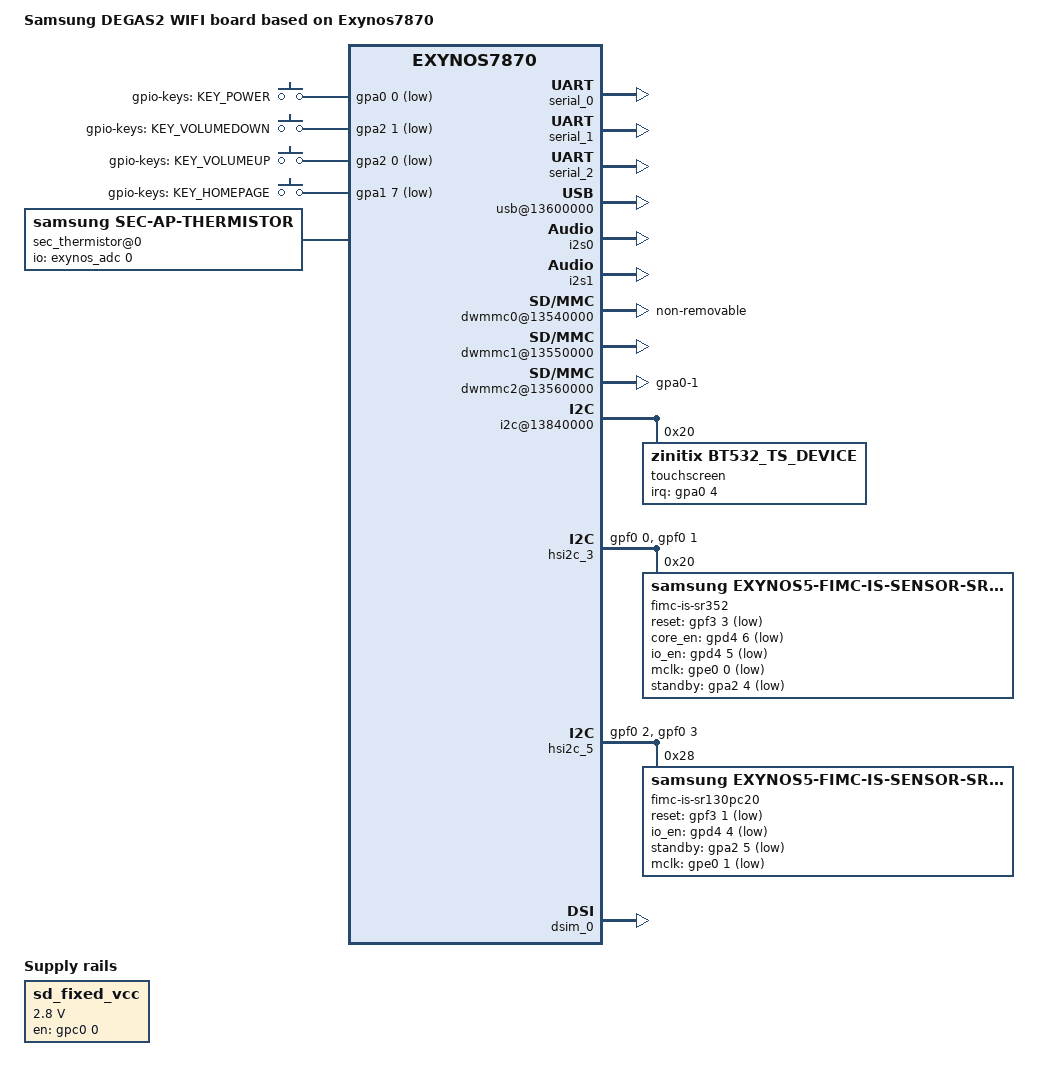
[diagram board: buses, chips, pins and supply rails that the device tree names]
/*
 * SAMSUNG UNIVERSAL8890 board device tree source
 *
 * Copyright (c) 2013 Samsung Electronics Co., Ltd.
 *		http://www.samsung.com
 *
 * This program is free software; you can redistribute it and/or modify
 * it under the terms of the GNU General Public License version 2 as
 * published by the Free Software Foundation.
*/

#include "exynos7870.dtsi"
#include "exynos7870-rmem-1500MB.dtsi"

/ {
	model = "Samsung DEGAS2 WIFI board based on Exynos7870";
	compatible = "samsung,exynos7870", "samsung,universal7870";

	ect {
		parameter_address = <0x90000000>;
		parameter_size = <0x14000>;	/* u-boot always overwrites this value. */
	};

	memory@40000000 {
		device_type = "memory";
		reg = <0x0 0x40000000 0x3E400000>;
	};

	memory@80000000 {
		device_type = "memory";
		reg = <0x0 0x80000000 0x20000000>;
	};

	chosen {
		bootargs = "console=ram ess_setup=0x46000000 androidboot.hardware=samsungexynos7870 androidboot.selinux=disabled firmware_class.path=/vendor/firmware androidboot.debug_level=0x4948 reserve-fimc=0";
		linux,initrd-start = <0x42000000>;
		linux,initrd-end = <0x420FFFFF>;
	};

	fixed-rate-clocks {
		oscclk {
			compatible = "samsung,exynos7870-oscclk";
			clock-frequency = <26000000>;
		};
	};

	reserved-memory {
		#address-cells = <2>;
		#size-cells = <1>;
		ranges;

		mfc_fw {
			compatible = "exynos5433-ion,mfc_fw";
			secure;
			reg = <0x0 0xAE800000 0x200000>;
			id = <8>;
		};

		mfc_nfw {
			compatible = "exynos5433-ion,mfc_nfw";
			reg = <0x0 0xAE600000 0x200000>;
			id = <12>;
		};
	};

	serial_0: uart@13810000 {
		status = "okay";
	};

	serial_1: uart@13800000 {
		status = "okay";
	};

	serial_2: uart@13820000 {
		status = "okay";
	};

	usb@13600000 {
		status = "okay";

		dwc3 {
			maximum-speed = "high-speed";
			dr_mode = "otg";
			is_not_vbus_pad;
		};
	};

	pinctrl_1: pinctrl@148C0000 {
		compatible = "samsung,exynos7870-pinctrl";
		reg = <0x0 0x148C0000 0x1000>;
		interrupts = <0 68 0>;
	};

	s1402x: s1402x@14880000 {
		pinctrl-names = "default", "idle";
		pinctrl-0 = <&i2s_pmic_bus
				&i2s_bt_bus>;
		pinctrl-1 = <&i2s_pmic_bus_idle
				&i2s_bt_bus_idle> ;
		bck-mcko-mode;
		status = "okay";
	};

	i2s0: i2s@148A0000 {
		status = "okay";
	};

	i2s1: i2s@148B0000 {
		status = "okay";
	};

	audio_cp_dummy: cp_dummy {
			compatible = "samsung,cp_dummy";
			status = "okay";
	};

	audio_fm_dummy: fm_dummy {
			compatible = "samsung,fm_dummy";
			status = "okay";
	};

	audio_bt_dummy: bt_dummy {
			compatible = "samsung,bt_dummy";
			status = "okay";
	};

	audio_codec_dummy: dummy-codec {
			compatible = "samsung,dummy-codec";
			status = "okay";
	};


	gpio_keys {
		compatible = "gpio-keys";
		pinctrl-names = "default";
		pinctrl-0 = <&key_power &key_voldown &key_volup &key_home>;
		#address-cells = <1>;
		#size-cells = <0>;

		button@1 {
			label = "gpio-keys: KEY_POWER";
			interrupts = <0 0 0>;
			interrupt-parent = <&gpa0>;
			linux,code = <116>;
			gpios = <&gpa0 0 0xf>;
			gpio-key,wakeup = <1>;
		};
		button@2 {
			label = "gpio-keys: KEY_VOLUMEDOWN";
			interrupts = <1 0 0>;
			interrupt-parent = <&gpa2>;
			linux,code = <114>;
			gpios = <&gpa2 1 0xf>;
		};
		button@3 {
			label = "gpio-keys: KEY_VOLUMEUP";
			interrupts = <0 0 0>;
			interrupt-parent = <&gpa2>;
			linux,code = <115>;
			gpios = <&gpa2 0 0xf>;
		};
		button@4 {
			label = "gpio-keys: KEY_HOMEPAGE";
			interrupts = <7 0 0>;
			interrupt-parent = <&gpa1>;
			linux,code = <172>;
			gpios = <&gpa1 7 0xf>;
			gpio-key,wakeup = <1>;
		};
	};

	dwmmc0@13540000 {
		status = "okay";
		num-slots = <1>;
		broken-cd;
		use-smu;
		fixed_voltage;
		clock-gate;
		supports-highspeed;
		mmc-ddr-1_8v;
		mmc-hs200-1_8v;
		mmc-hs400-1_8v;
		mmc-shutdown-poweroff;
		pm-skip-mmc-resume-init;
		supports-8bit;
		supports-cmd23;
		supports-erase;
		enable-ulp-mode;
		supports-hs400-enhanced-strobe;
		use-fine-tuning;
		bypass-for-allpass;
		card-init-hwacg-ctrl;
		fifo-depth = <0x40>;
		non-removable;
		desc-size = <4>;
		card-detect-delay = <200>;
		data-timeout = <200>;
		clock-frequency = <800000000>;
		samsung,dw-mshc-ciu-div = <3>;
		samsung,dw-mshc-txdt-crc-timer-fastlimit = <0x34>;
		samsung,dw-mshc-txdt-crc-timer-initval = <0x38>;
		samsung,dw-mshc-ddr200-delay-line = <0x60>;
		samsung,dw-mshc-sdr-timing = <3 0 4 0>;
		samsung,dw-mshc-ddr-timing = <3 0 4 2>;
		samsung,dw-mshc-hs200-timing = <3 0 3 0>;
		samsung,dw-mshc-ddr200-timing = <1 0 4 0>;
		samsung,dw-mshc-ddr200-ulp-timing = <3 0 3 0>;

		num-ref-clks = <10>;
		ciu_clkin = <25 50 50 100 200 100 50 200 200 200>;

		/* Swapping clock drive strength */
		clk-drive-number = <6>;
		pinctrl-names = "default",
			"fast-slew-rate-1x",
			"fast-slew-rate-2x",
			"fast-slew-rate-3x",
			"fast-slew-rate-4x",
			"fast-slew-rate-5x",
			"fast-slew-rate-6x";
		pinctrl-0 = <&sd0_clk &sd0_cmd &sd0_rdqs &sd0_bus1 &sd0_bus4 &sd0_bus8>;
		pinctrl-1 = <&sd0_clk_fast_slew_rate_1x>;
		pinctrl-2 = <&sd0_clk_fast_slew_rate_2x>;
		pinctrl-3 = <&sd0_clk_fast_slew_rate_3x>;
		pinctrl-4 = <&sd0_clk_fast_slew_rate_4x>;
		pinctrl-5 = <&sd0_clk_fast_slew_rate_5x>;
		pinctrl-6 = <&sd0_clk_fast_slew_rate_6x>;
		slot@0 {
			reg = <0>;
			bus-width = <8>;
		};
	};

	dwmmc1@13550000 {
		status = "okay";
		num-slots = <1>;
		channel = <1>;
		fixed_voltage;
		clock-gate;
		enable-cclk-on-suspend;
		caps-control;
		supports-highspeed;
		supports-4bit;
		sd-uhs-sdr104;
		keep-power-in-suspend;
		pm-ignore-notify;
		card-detect-type-external;
		use-broken-voltage;
		use-fine-tuning;
		ignore-phase = <(1 << 7)>;
		fifo-depth = <0x40>;
		card-detect-delay = <200>;
		qos_int_level = <468000>;
		samsung,dw-mshc-ciu-div = <3>;
		samsung,dw-mshc-sdr-timing = <3 0 2 0>;
		samsung,dw-mshc-ddr-timing = <3 0 2 1>;
		samsung,dw-mshc-sdr50-timing = <3 0 4 2>;
		samsung,dw-mshc-sdr104-timing = <3 0 3 0>;
		clk_pin = "gpr2-0";
		clk_addr = "13750000.pinctrl";
		clk_val = <0x2>;
		clk_str_num = <4>;
		num-ref-clks = <8>;
		ciu_clkin = <25 50 50 100 200 100 200 400>;
		pinctrl-names = "default";
		pinctrl-0 = <&sd1_clk &sd1_cmd &sd1_bus1 &sd1_bus4>;
		slot@0 {
			reg = <0>;
			bus-width = <4>;
		};
	};

	dwmmc2@13560000 {
		status = "okay";
		num-slots = <1>;
		supports-highspeed;
		supports-4bit;
		supports-cmd23;
		supports-erase;
		sd-uhs-sdr50;
		sd-uhs-sdr104;
		clock-gate;
		bypass-smu;
		bypass-for-allpass;
		use-fine-tuning;
		card-init-hwacg-ctrl;
		only_once_tune;
		samsung,voltage-int-extra = <0x7>;
		ignore-phase = <(1 << 7)>;
		fifo-depth = <0x40>;
		desc-size = <8>;
		card-detect-delay = <200>;
		data-timeout = <200>;
		hto-timeout = <550>;
		samsung,dw-mshc-ciu-div = <3>;
		clock-frequency = <800000000>;
		samsung,dw-mshc-sdr-timing = <3 0 3 0>;
		samsung,dw-mshc-ddr-timing = <3 0 2 1>;
		samsung,dw-mshc-sdr50-timing = <3 0 4 2>;
		samsung,dw-mshc-sdr104-timing = <3 0 3 0>;

		num-ref-clks = <8>;
		ciu_clkin = <25 50 50 100 200 100 200 400>;

		/* Swapping clock drive strength */
		clk-drive-number = <4>;
		pinctrl-names = "default",
			"fast-slew-rate-1x",
			"fast-slew-rate-2x",
			"fast-slew-rate-3x",
			"fast-slew-rate-4x";
		pinctrl-0 = <&sd2_clk &sd2_cmd &sd2_bus1 &sd2_bus4 &dwmmc2_cd_ext_irq>;
		pinctrl-1 = <&sd2_clk_fast_slew_rate_1x>;
		pinctrl-2 = <&sd2_clk_fast_slew_rate_2x>;
		pinctrl-3 = <&sd2_clk_fast_slew_rate_3x>;
		pinctrl-4 = <&sd2_clk_fast_slew_rate_4x>;

		card-detect = <&gpa0 1 0xf>;
		card-detect-gpio;
		sec-sd-slot-type = <1>; /* Normal SD slot */

		slot@0 {
			reg = <0>;
			bus-width = <4>;
			disable-wp;
		};
	};

	sd_fixed_vcc: fixedregulator@0 {
		compatible = "regulator-fixed";
		regulator-name = "vmmc";
		gpio = <&gpc0 0 1>;
		regulator-min-microvolt = <2800000>;
		regulator-max-microvolt = <2800000>;
		enable-active-high;
		regulator-initial-mode = <0>;
	};

	pinctrl@139F0000 {
		attn_input: attn-input {
			samsung,pins = "gpa0-4";
			samsung,pin-function = <0>;
			samsung,pin-pud = <0>;
			samsung,pin-drv = <0>;
		};
		attn_irq: attn-irq {
			samsung,pins = "gpa0-4";
			samsung,pin-function = <0xf>;
			samsung,pin-pud = <0>;
			samsung,pin-drv = <0>;
		};
	};

	i2c@13840000 {
		samsung,i2c-sda-delay = <100>;
		samsung,i2c-max-bus-freq = <400000>;
		status = "okay";
		touchscreen@20 {
			compatible = "zinitix,bt532_ts_device";
			reg = <0x20>;
			pinctrl-names = "on_state", "off_state";
			pinctrl-0 = <&attn_irq>;
			pinctrl-1 = <&attn_input>;
			zinitix,irq_gpio = <&gpa0 4 0>;
			zinitix,regulator_dvdd = "TSP_VDD_3P3";
			zinitix,regulator_avdd = "vdd_ldo3";
			zinitix,x_resolution = <3200>;
			zinitix,y_resolution = <5120>;
			zinitix,page_size = <64>;
			zinitix,orientation = <0>;
			zinitix,chip_name = "ZT7548";
			zinitix,firmware_name = "tsp_zinitix/zt7548_degas2.fw";
			zinitix,touchkey = "true";
		};
	};


	pinctrl@139B0000 {
		cfg_gpio: cfg-gpio {
			samsung,pins = "gpc8-1", "gpc8-0";
			samsung,pin-function = <0>;
			samsung,pin-pud = <0>;
			samsung,pin-drv = <0>;
		};
	};

	pinctrl@139F0000 {
		key_power: key-power {
			samsung,pins = "gpa0-0";
			samsung,pin-function = <0xf>;
			samsung,pin-pud = <0>;
			samsung,pin-drv = <0>;
		};
		dwmmc2_cd_ext_irq: dwmmc2_cd_ext_irq {
			samsung,pins = "gpa0-1";
			samsung,pin-function = <0xf>;
			samsung,pin-pud = <0>;
			samsung,pin-drv = <0>;
		};
		grip_wifi_int: grip_wifi_int {
			samsung,pins = "gpa0-5";
			samsung,pin-function = <0xf>;
			samsung,pin-pud = <0>;
			samsung,pin-drv = <0>;
		};
		acc_int: acc_int {
			samsung,pins = "gpa0-7";
			samsung,pins-function = <0xf>;
			samsung,pin-pud = <0x3>;
			samsung,pin-drv = <0>;
		};
		key_voldown: key-voldown {
			samsung,pins = "gpa2-1";
			samsung,pin-function = <0xf>;
			samsung,pin-pud = <0>;
			samsung,pin-drv = <0>;
		};

		key_volup: key-volup {
			samsung,pins = "gpa2-0";
			samsung,pin-function = <0xf>;
			samsung,pin-pud = <0>;
			samsung,pin-drv = <0>;
		};

		key_home: key-home {
			samsung,pins = "gpa1-7";
			samsung,pin-function = <0xf>;
			samsung,pin-pud = <0>;
			samsung,pin-drv = <0>;
		};
		pmic_irq: pmic-irq {
			samsung,pins = "gpa0-2";
			samsung,pin-pud = <3>;
			samsung,pin-drv = <3>;
		};

		cod3026_irq: cod3026-irq {
			samsung,pins = "gpa1-5";
			samsung,pin-pud = <3>;
			samsung,pin-drv = <3>;
		};

		if_irq: if-irq {
			samsung,pins = "gpa2-7";
			samsung,pin-pud = <3>;
			samsung,pin-drv = <3>;
		};

		cfg_wlanhostwake: cfg-wlanhostwake {
			samsung,pins = "gpa2-2";
			samsung,pin-function = <0>;
			samsung,pin-pud = <1>;
		};

	};

	pinctrl@139E0000 {
		if_pmic_rstb: if-pmic-rstb {
			samsung,pins = "gpc7-4";
			samsung,pin-function = <2>;
			samsung,pin-pud = <3>;
			samsung,pin-con-pdn = <3>;
		};
	};

	pinctrl@139B0000 {
		/* Warm reset information from AP */
		pm_wrsti: pm-wrsti {
			samsung,pins = "gpd1-0";
			samsung,pin-con-pdn = <3>;
		};
	};

	pinctrl@139B0000 {
		cnss_wlanen: cnss-wlanen  {       /* WLAN_EN */
			samsung,pins = "gpd3-6";
			samsung,pin-function = <1>;
			samsung,pin-pud = <0>;
			samsung,pin-drv = <3>;
			samsung,pin-con-pdn = <3>;
			samsung,pin-pud-pdn = <0>;
			samsung,pin-val = <0>;
		};
	};

	sound {
		compatible = "samsung,universal7870-cod3026x";
		samsung,audio-cpu = <&i2s0      /* primary */
			&i2s0                    /* secondary */
			&audio_cp_dummy
			&audio_bt_dummy
			&audio_fm_dummy
			&i2s1			/*AMP for AP */
			&audio_cp_dummy		/*AMP for CP */
			&eax
			&eax
			&eax
			&eax>;
		samsung,audio-codec = <&audio_codec_cod3026x
			&audio_codec_cod3026x
			&audio_codec_cod3026x
			&audio_codec_dummy
			&audio_codec_cod3026x
			&audio_codec_dummy
			&audio_codec_dummy
			&audio_codec_cod3026x
			&audio_codec_cod3026x
			&audio_codec_cod3026x
			&audio_codec_cod3026x>;
		mic-bias-mode = <2 1 2 0>;
		samsung,auxdev = <&s1402x>;
		status = "okay";
	};

	ion {
		compatible = "samsung,exynos5430-ion";
	};

	tmuctrl_0: tmuctrl_CPUCL0@10130000 {
		compatible = "samsung,exynos7870-tmu";
		reg = <0x0 0x10130000 0x200>;
		interrupts = <0 435 0>;
		max_trigger_level = <8>;
		non_hw_trigger_levels = <7>;

		/* Throttling Level */
		trigger_levels_0 = <76>;
		trigger_levels_1 = <81>;
		trigger_levels_2 = <86>;
		trigger_levels_3 = <91>;
		trigger_levels_4 = <96>;
		trigger_levels_5 = <101>;
		trigger_levels_6 = <111>;
		trigger_levels_7 = <115>;

		trigger_enable_0 = <ENABLE>;
		trigger_enable_1 = <ENABLE>;
		trigger_enable_2 = <ENABLE>;
		trigger_enable_3 = <ENABLE>;
		trigger_enable_4 = <ENABLE>;
		trigger_enable_5 = <ENABLE>;
		trigger_enable_6 = <ENABLE>;
		trigger_enable_7 = <ENABLE>;

		trigger_type_0 = <THROTTLE_ACTIVE>;
		trigger_type_1 = <THROTTLE_ACTIVE>;
		trigger_type_2 = <THROTTLE_ACTIVE>;
		trigger_type_3 = <THROTTLE_ACTIVE>;
		trigger_type_4 = <THROTTLE_ACTIVE>;
		trigger_type_5 = <THROTTLE_ACTIVE>;
		trigger_type_6 = <THROTTLE_ACTIVE>;
		trigger_type_7 = <HW_TRIP>;

		freq_tab_count = <5>;

		freq_clip_max_0 = <1586000>;
		freq_clip_max_1 = <1248000>;
		freq_clip_max_2 = <1248000>;
		freq_clip_max_3 = <546000>;
		freq_clip_max_4 = <546000>;

		cooling_level_0 = <76>;
		cooling_level_1 = <81>;
		cooling_level_2 = <86>;
		cooling_level_3 = <91>;
		cooling_level_4 = <96>;
	};

	tmuctrl_1: tmuctrl_CPUCL1@10130000 {
		compatible = "samsung,exynos7870-tmu";
		reg = <0x0 0x10130000 0x200>;
		interrupts = <0 435 0>;
		max_trigger_level = <8>;
		non_hw_trigger_levels = <7>;

		/* Throttling Level */
		trigger_levels_0 = <76>;
		trigger_levels_1 = <81>;
		trigger_levels_2 = <86>;
		trigger_levels_3 = <91>;
		trigger_levels_4 = <96>;
		trigger_levels_5 = <101>;
		trigger_levels_6 = <111>;
		trigger_levels_7 = <115>;

		trigger_enable_0 = <ENABLE>;
		trigger_enable_1 = <ENABLE>;
		trigger_enable_2 = <ENABLE>;
		trigger_enable_3 = <ENABLE>;
		trigger_enable_4 = <ENABLE>;
		trigger_enable_5 = <ENABLE>;
		trigger_enable_6 = <ENABLE>;
		trigger_enable_7 = <ENABLE>;

		trigger_type_0 = <THROTTLE_ACTIVE>;
		trigger_type_1 = <THROTTLE_ACTIVE>;
		trigger_type_2 = <THROTTLE_ACTIVE>;
		trigger_type_3 = <THROTTLE_ACTIVE>;
		trigger_type_4 = <THROTTLE_ACTIVE>;
		trigger_type_5 = <THROTTLE_ACTIVE>;
		trigger_type_6 = <THROTTLE_ACTIVE>;
		trigger_type_7 = <HW_TRIP>;

		freq_tab_count = <5>;

		freq_clip_max_0 = <1586000>;
		freq_clip_max_1 = <1248000>;
		freq_clip_max_2 = <1248000>;
		freq_clip_max_3 = <546000>;
		freq_clip_max_4 = <546000>;

		cooling_level_0 = <76>;
		cooling_level_1 = <81>;
		cooling_level_2 = <86>;
		cooling_level_3 = <91>;
		cooling_level_4 = <96>;

		hotplug_enable = <1>;
		hotplug_in_threshold = <91>;
		hotplug_out_threshold = <96>;
	};

	tmuctrl_2: tmuctrl_G3D@10130000 {
		compatible = "samsung,exynos7870-tmu";
		reg = <0x0 0x10130000 0x200>;
		interrupts = <0 435 0>;
		max_trigger_level = <8>;
		non_hw_trigger_levels = <7>;

		/* Throttling Level */
		trigger_levels_0 = <76>;
		trigger_levels_1 = <81>;
		trigger_levels_2 = <86>;
		trigger_levels_3 = <91>;
		trigger_levels_4 = <96>;
		trigger_levels_5 = <101>;
		trigger_levels_6 = <111>;
		trigger_levels_7 = <115>;

		trigger_enable_0 = <ENABLE>;
		trigger_enable_1 = <ENABLE>;
		trigger_enable_2 = <ENABLE>;
		trigger_enable_3 = <ENABLE>;
		trigger_enable_4 = <ENABLE>;
		trigger_enable_5 = <ENABLE>;
		trigger_enable_6 = <ENABLE>;
		trigger_enable_7 = <ENABLE>;

		trigger_type_0 = <THROTTLE_ACTIVE>;
		trigger_type_1 = <THROTTLE_ACTIVE>;
		trigger_type_2 = <THROTTLE_ACTIVE>;
		trigger_type_3 = <THROTTLE_ACTIVE>;
		trigger_type_4 = <THROTTLE_ACTIVE>;
		trigger_type_5 = <THROTTLE_ACTIVE>;
		trigger_type_6 = <THROTTLE_ACTIVE>;
		trigger_type_7 = <HW_TRIP>;

		freq_tab_count = <6>;

		freq_clip_max_0 = <1246000>;
		freq_clip_max_1 = <1146000>;
		freq_clip_max_2 = <1001000>;
		freq_clip_max_3 = <728000>;
		freq_clip_max_4 = <343000>;
		freq_clip_max_5 = <343000>;

		cooling_level_0 = <76>;
		cooling_level_1 = <81>;
		cooling_level_2 = <86>;
		cooling_level_3 = <91>;
		cooling_level_4 = <96>;
		cooling_level_5 = <101>;

		/* gpu cooling related table */
		gpu_idx_num = <6>;
		/* flags, driver_data(index), frequency */
		gpu_cooling_table = < 0 0 1001000
				      0 1 845000
				      0 2 728000
				      0 3 545000
				      0 4 343000
				      0 5 TABLE_END>;
	};

	/* modem_interface */
	mif_pdata {
		reg = <0 0x10000 0x14>;
		pinctrl-names = "default";
		pinctrl-0 = <&ds_det>;

		/* To do: will be remove, for system revision */
		gpios = <&gpd2 4 0x0>,
		       <&gpd2 5 0x0>,
		       <&gpd3 0 0x0>,
		       <&gpd3 1 0x0>;

		mif,gpio_ds_det = <&gpd1 2 0x0>;

		mif,ap_clk_table = <
			/* khz */
			1586000
			1482000
			1352000
			1248000
			1144000
			1014000
			902000
			839000
			757000
			676000
			546000
			449000
			345000
			>;

		mif,mif_clk_table = <
			/* khz */
			902000
			825000
			728000
			676000
			546000
			451000
			275000
			>;

		mif,int_clk_table = <
			/* khz */
			400000
			334000
			200000
			134000
			>;
	};

	fimc_is@14400000 {
		vender {
			rear_sensor_id = <303>; /* SENSOR_NAME_SR352 */
			front_sensor_id = <304>; /* SENSOR_NAME_SR130PC20 */
			use_module_check;

			total_camera_num = <2>;
			camera_info0 {				// 0 : rear
				isp = <0>;				/* 0 : INT , 1 : EXT , 2 : SOC */
				cal_memory = <3>;		/* 0 : N , 1 : FROM , 2 : EEPROM , 3 : OTP  */
				read_version = <0>;		/* 0 : SYSFS , 1 : CAMON */

				core_voltage = <0>;		/* 0 : N , 1 : Y  */
				upgrade = <0>;			/* 0 : N , 1 : SYSFS , 2 : CAMON */
				companion = <0>;		/* 0 : N , 1 : Y  */
				ois = <0>;				/* 0 : N , 1 : Y  */
			};
			camera_info1 {				// 1 : front
				isp = <0>;				/* 0 : INT , 1 : EXT , 2 : SOC */
				cal_memory = <0>;		/* 0 : N , 1 : FROM , 2 : EEPROM , 3 : OTP  */
				read_version = <0>;		/* 0 : SYSFS , 1 : CAMON */

				core_voltage = <0>;		/* 0 : N , 1 : Y  */
				upgrade = <0>;			/* 0 : N , 1 : SYSFS , 2 : CAMON */
				companion = <0>;		/* 0 : N , 1 : Y  */
				ois = <0>;				/* 0 : N , 1 : Y  */
			};
		};

		fimc_is_dvfs {
			#define DVFS_INT_L0 400000
			#define DVFS_INT_L1 334000
			#define DVFS_INT_L2 200000
			#define DVFS_INT_L3 134000

			#define DVFS_CAM_L0 533000
			#define DVFS_CAM_L1 334000
			#define DVFS_CAM_L2 167000

			#define DVFS_MIF_L0 902000
			#define DVFS_MIF_L1 825000
			#define DVFS_MIF_L2 728000
			#define DVFS_MIF_L3 676000
			#define DVFS_MIF_L4 546000
			#define DVFS_MIF_L5 451000

			table0 {
				desc = "default Max version";

				default_int = <0>;
				default_cam = <DVFS_CAM_L0>;
				default_mif = <DVFS_MIF_L0>;
				default_i2c = <0>;

				front_preview_int = <0>;
				front_preview_cam = <DVFS_CAM_L1>;
				front_preview_mif = <DVFS_MIF_L3>;
				front_preview_i2c = <0>;

				front_capture_int = <0>;
				front_capture_cam = <DVFS_CAM_L1>;
				front_capture_mif = <DVFS_MIF_L3>;
				front_capture_i2c = <0>;

				front_video_int = <0>;
				front_video_cam = <DVFS_CAM_L1>;
				front_video_mif = <DVFS_MIF_L3>;
				front_video_i2c = <0>;

				front_video_whd_int = <0>;
				front_video_whd_cam = <DVFS_CAM_L0>;
				front_video_whd_mif = <DVFS_MIF_L0>;
				front_video_whd_i2c = <0>;

				front_video_capture_int = <0>;
				front_video_capture_cam = <DVFS_CAM_L0>;
				front_video_capture_mif = <DVFS_MIF_L0>;
				front_video_capture_i2c = <0>;

				front_video_whd_capture_int = <0>;
				front_video_whd_capture_cam = <DVFS_CAM_L0>;
				front_video_whd_capture_mif = <DVFS_MIF_L0>;
				front_video_whd_capture_i2c = <0>;

				front_vt1_int = <0>;
				front_vt1_cam = <DVFS_CAM_L1>;
				front_vt1_mif = <DVFS_MIF_L3>;
				front_vt1_i2c = <0>;

				front_vt2_int = <0>;
				front_vt2_cam = <DVFS_CAM_L1>;
				front_vt2_mif = <DVFS_MIF_L3>;
				front_vt2_i2c = <0>;

				front_companion_preview_int = <0>;
				front_companion_preview_cam = <DVFS_CAM_L0>;
				front_companion_preview_mif = <DVFS_MIF_L0>;
				front_companion_preview_i2c = <0>;

				front_companion_capture_int = <0>;
				front_companion_capture_cam = <DVFS_CAM_L0>;
				front_companion_capture_mif = <DVFS_MIF_L0>;
				front_companion_capture_i2c = <0>;

				front_companion_video_int = <0>;
				front_companion_video_cam = <DVFS_CAM_L0>;
				front_companion_video_mif = <DVFS_MIF_L0>;
				front_companion_video_i2c = <0>;

				front_companion_video_whd_int = <0>;
				front_companion_video_whd_cam = <DVFS_CAM_L0>;
				front_companion_video_whd_mif = <DVFS_MIF_L0>;
				front_companion_video_whd_i2c = <0>;

				front_companion_video_capture_int = <0>;
				front_companion_video_capture_cam = <DVFS_CAM_L0>;
				front_companion_video_capture_mif = <DVFS_MIF_L0>;
				front_companion_video_capture_i2c = <0>;

				front_companion_video_whd_capture_int = <0>;
				front_companion_video_whd_capture_cam = <DVFS_CAM_L0>;
				front_companion_video_whd_capture_mif = <DVFS_MIF_L0>;
				front_companion_video_whd_capture_i2c = <0>;

				rear_preview_fhd_int = <0>;
				rear_preview_fhd_cam = <DVFS_CAM_L0>;
				rear_preview_fhd_mif = <DVFS_MIF_L0>;
				rear_preview_fhd_i2c = <0>;

				rear_preview_whd_int = <0>;
				rear_preview_whd_cam = <DVFS_CAM_L0>;
				rear_preview_whd_mif = <DVFS_MIF_L0>;
				rear_preview_whd_i2c = <0>;

				rear_preview_uhd_int = <0>;
				rear_preview_uhd_cam = <DVFS_CAM_L0>;
				rear_preview_uhd_mif = <DVFS_MIF_L0>;
				rear_preview_uhd_i2c = <0>;

				rear_capture_int = <0>;
				rear_capture_cam = <DVFS_CAM_L0>;
				rear_capture_mif = <DVFS_MIF_L0>;
				rear_capture_i2c = <0>;

				rear_video_fhd_int = <0>;
				rear_video_fhd_cam = <DVFS_CAM_L0>;
				rear_video_fhd_mif = <DVFS_MIF_L1>;
				rear_video_fhd_i2c = <0>;

				rear_video_uhd_int = <0>;
				rear_video_uhd_cam = <DVFS_CAM_L0>;
				rear_video_uhd_mif = <DVFS_MIF_L0>;
				rear_video_uhd_i2c = <0>;

				rear_video_fhd_capture_int = <0>;
				rear_video_fhd_capture_cam = <DVFS_CAM_L0>;
				rear_video_fhd_capture_mif = <DVFS_MIF_L1>;
				rear_video_fhd_capture_i2c = <0>;

				rear_video_uhd_capture_int = <0>;
				rear_video_uhd_capture_cam = <DVFS_CAM_L0>;
				rear_video_uhd_capture_mif = <DVFS_MIF_L1>;
				rear_video_uhd_capture_i2c = <0>;

				dual_preview_int = <0>;
				dual_preview_cam = <DVFS_CAM_L0>;
				dual_preview_mif = <DVFS_MIF_L0>;
				dual_preview_i2c = <0>;

				dual_capture_int = <0>;
				dual_capture_cam = <DVFS_CAM_L0>;
				dual_capture_mif = <DVFS_MIF_L0>;
				dual_capture_i2c = <0>;

				dual_video_int = <0>;
				dual_video_cam = <DVFS_CAM_L0>;
				dual_video_mif = <DVFS_MIF_L0>;
				dual_video_i2c = <0>;

				dual_video_capture_int = <0>;
				dual_video_capture_cam = <DVFS_CAM_L0>;
				dual_video_capture_mif = <DVFS_MIF_L0>;
				dual_video_capture_i2c = <0>;

				preview_high_speed_fps_int = <0>;
				preview_high_speed_fps_cam = <DVFS_CAM_L0>;
				preview_high_speed_fps_mif = <DVFS_MIF_L0>;
				preview_high_speed_fps_i2c = <0>;

				video_high_speed_60fps_int = <0>;
				video_high_speed_60fps_cam = <DVFS_CAM_L0>;
				video_high_speed_60fps_mif = <DVFS_MIF_L0>;
				video_high_speed_60fps_i2c = <0>;

				video_high_speed_120fps_int = <0>;
				video_high_speed_120fps_cam = <DVFS_CAM_L0>;
				video_high_speed_120fps_mif = <DVFS_MIF_L0>;
				video_high_speed_120fps_i2c = <0>;

				video_high_speed_240fps_int = <0>;
				video_high_speed_240fps_cam = <DVFS_CAM_L0>;
				video_high_speed_240fps_mif = <DVFS_MIF_L0>;
				video_high_speed_240fps_i2c = <0>;

				max_int = <0>;
				max_cam = <DVFS_CAM_L0>;
				max_mif = <DVFS_MIF_L0>;
				max_i2c = <0>;
			};

			table1 {
				desc = "default Max version";

				default_int = <0>;
				default_cam = <DVFS_CAM_L0>;
				default_mif = <DVFS_MIF_L0>;
				default_i2c = <0>;

				front_preview_int = <0>;
				front_preview_cam = <DVFS_CAM_L0>;
				front_preview_mif = <DVFS_MIF_L0>;
				front_preview_i2c = <0>;

				front_capture_int = <0>;
				front_capture_cam = <DVFS_CAM_L0>;
				front_capture_mif = <DVFS_MIF_L0>;
				front_capture_i2c = <0>;

				front_video_int = <0>;
				front_video_cam = <DVFS_CAM_L0>;
				front_video_mif = <DVFS_MIF_L0>;
				front_video_i2c = <0>;

				front_video_whd_int = <0>;
				front_video_whd_cam = <DVFS_CAM_L0>;
				front_video_whd_mif = <DVFS_MIF_L0>;
				front_video_whd_i2c = <0>;

				front_video_capture_int = <0>;
				front_video_capture_cam = <DVFS_CAM_L0>;
				front_video_capture_mif = <DVFS_MIF_L0>;
				front_video_capture_i2c = <0>;

				front_video_whd_capture_int = <0>;
				front_video_whd_capture_cam = <DVFS_CAM_L0>;
				front_video_whd_capture_mif = <DVFS_MIF_L0>;
				front_video_whd_capture_i2c = <0>;

				front_vt1_int = <0>;
				front_vt1_cam = <DVFS_CAM_L0>;
				front_vt1_mif = <DVFS_MIF_L0>;
				front_vt1_i2c = <0>;

				front_vt2_int = <0>;
				front_vt2_cam = <DVFS_CAM_L0>;
				front_vt2_mif = <DVFS_MIF_L0>;
				front_vt2_i2c = <0>;

				front_companion_preview_int = <0>;
				front_companion_preview_cam = <DVFS_CAM_L0>;
				front_companion_preview_mif = <DVFS_MIF_L0>;
				front_companion_preview_i2c = <0>;

				front_companion_capture_int = <0>;
				front_companion_capture_cam = <DVFS_CAM_L0>;
				front_companion_capture_mif = <DVFS_MIF_L0>;
				front_companion_capture_i2c = <0>;

				front_companion_video_int = <0>;
				front_companion_video_cam = <DVFS_CAM_L0>;
				front_companion_video_mif = <DVFS_MIF_L0>;
				front_companion_video_i2c = <0>;

				front_companion_video_whd_int = <0>;
				front_companion_video_whd_cam = <DVFS_CAM_L0>;
				front_companion_video_whd_mif = <DVFS_MIF_L0>;
				front_companion_video_whd_i2c = <0>;

				front_companion_video_capture_int = <0>;
				front_companion_video_capture_cam = <DVFS_CAM_L0>;
				front_companion_video_capture_mif = <DVFS_MIF_L0>;
				front_companion_video_capture_i2c = <0>;

				front_companion_video_whd_capture_int = <0>;
				front_companion_video_whd_capture_cam = <DVFS_CAM_L0>;
				front_companion_video_whd_capture_mif = <DVFS_MIF_L0>;
				front_companion_video_whd_capture_i2c = <0>;

				rear_preview_fhd_int = <0>;
				rear_preview_fhd_cam = <DVFS_CAM_L0>;
				rear_preview_fhd_mif = <DVFS_MIF_L0>;
				rear_preview_fhd_i2c = <0>;

				rear_preview_whd_int = <0>;
				rear_preview_whd_cam = <DVFS_CAM_L0>;
				rear_preview_whd_mif = <DVFS_MIF_L0>;
				rear_preview_whd_i2c = <0>;

				rear_preview_uhd_int = <0>;
				rear_preview_uhd_cam = <DVFS_CAM_L0>;
				rear_preview_uhd_mif = <DVFS_MIF_L0>;
				rear_preview_uhd_i2c = <0>;

				rear_capture_int = <0>;
				rear_capture_cam = <DVFS_CAM_L0>;
				rear_capture_mif = <DVFS_MIF_L0>;
				rear_capture_i2c = <0>;

				rear_video_fhd_int = <0>;
				rear_video_fhd_cam = <DVFS_CAM_L0>;
				rear_video_fhd_mif = <DVFS_MIF_L0>;
				rear_video_fhd_i2c = <0>;

				rear_video_uhd_int = <0>;
				rear_video_uhd_cam = <DVFS_CAM_L0>;
				rear_video_uhd_mif = <DVFS_MIF_L0>;
				rear_video_uhd_i2c = <0>;

				rear_video_fhd_capture_int = <0>;
				rear_video_fhd_capture_cam = <DVFS_CAM_L0>;
				rear_video_fhd_capture_mif = <DVFS_MIF_L0>;
				rear_video_fhd_capture_i2c = <0>;

				rear_video_uhd_capture_int = <0>;
				rear_video_uhd_capture_cam = <DVFS_CAM_L0>;
				rear_video_uhd_capture_mif = <DVFS_MIF_L0>;
				rear_video_uhd_capture_i2c = <0>;

				dual_preview_int = <0>;
				dual_preview_cam = <DVFS_CAM_L0>;
				dual_preview_mif = <DVFS_MIF_L0>;
				dual_preview_i2c = <0>;

				dual_capture_int = <0>;
				dual_capture_cam = <DVFS_CAM_L0>;
				dual_capture_mif = <DVFS_MIF_L0>;
				dual_capture_i2c = <0>;

				dual_video_int = <0>;
				dual_video_cam = <DVFS_CAM_L0>;
				dual_video_mif = <DVFS_MIF_L0>;
				dual_video_i2c = <0>;

				dual_video_capture_int = <0>;
				dual_video_capture_cam = <DVFS_CAM_L0>;
				dual_video_capture_mif = <DVFS_MIF_L0>;
				dual_video_capture_i2c = <0>;

				preview_high_speed_fps_int = <0>;
				preview_high_speed_fps_cam = <DVFS_CAM_L0>;
				preview_high_speed_fps_mif = <DVFS_MIF_L0>;
				preview_high_speed_fps_i2c = <0>;

				video_high_speed_60fps_int = <0>;
				video_high_speed_60fps_cam = <DVFS_CAM_L0>;
				video_high_speed_60fps_mif = <DVFS_MIF_L0>;
				video_high_speed_60fps_i2c = <0>;

				video_high_speed_120fps_int = <0>;
				video_high_speed_120fps_cam = <DVFS_CAM_L0>;
				video_high_speed_120fps_mif = <DVFS_MIF_L0>;
				video_high_speed_120fps_i2c = <0>;

				video_high_speed_240fps_int = <0>;
				video_high_speed_240fps_cam = <DVFS_CAM_L0>;
				video_high_speed_240fps_mif = <DVFS_MIF_L0>;
				video_high_speed_240fps_i2c = <0>;

				max_int = <0>;
				max_cam = <DVFS_CAM_L0>;
				max_mif = <DVFS_MIF_L0>;
				max_i2c = <0>;
			};
		};
	};
	hsi2c_3: hsi2c@138A0000 {
		gpios = <&gpf0 0 0 &gpf0 1 0>;
		status = "okay";
		samsung,i2c-sda-delay = <100>;
		samsung,i2c-max-bus-freq = <400000>;

		pinctrl-names = "default";
		pinctrl-0 = <&hs_i2c3_bus>;

		fimc-is-sr352@20 {
			compatible = "samsung,exynos5-fimc-is-sensor-sr352";
			reg = <0x20>;
			setfile = "default";
			pinctrl-names = "pin0", "pin1";
			pinctrl-0 = <&fimc_is_mclk0_fn>; /* rear on */
			pinctrl-1 = <&fimc_is_mclk0_in>; /* rear off */

			position = <0>; /* Rear:0. Front:1 */
			id = <0>; /* bns_id */
			mclk_ch = <0>;
			sensor_i2c_ch = <0>; /* I2C 0 */
			sensor_i2c_addr = <0x20>; /* need the i2c_addr modify */

			gpio_reset = <&gpf3 3 0x1>; /* 3M_CAM_nRST */
			gpio_core_en = <&gpd4 6 0x1>; /* CAM_CORE_1P25_EN */
			gpio_io_en = <&gpd4 5 0x1>; /* 3M_CAM_1P8_EN */
			gpio_mclk = <&gpe0 0 0x1>; /* 3M_CAM_MCLK */
			gpio_standby = <&gpa2 4 0x1>; /* 3M_CAM_STBY */
			status = "okay";
		};
	};

	hsi2c_5: hsi2c@138C0000 {
		gpios = <&gpf0 2 0 &gpf0 3 0>;
		status = "okay";
		samsung,i2c-sda-delay = <100>;
		samsung,i2c-max-bus-freq = <400000>;

		pinctrl-names = "default";
		pinctrl-0 = <&hs_i2c5_bus>;

		fimc-is-sr130pc20@28 {
			compatible = "samsung,exynos5-fimc-is-sensor-sr130pc20";
			reg = <0x28>;
			setfile = "default";
			pinctrl-names = "pin0", "pin1";
			pinctrl-0 = <&fimc_is_mclk1_fn>; /* front on */
			pinctrl-1 = <&fimc_is_mclk1_in>; /* front off */

			position = <1>; /* Rear:0. Front:1 */
			id = <1>; /* bns_id */
			mclk_ch = <1>;
			sensor_i2c_ch = <1>;
			sensor_i2c_addr = <0x28>; /* need the i2c_addr modify */

			gpio_reset = <&gpf3 1 0x1>;
			gpio_io_en = <&gpd4 4 0x1>; /* VT_CAM_1P8 */
			gpio_standby = <&gpa2 5 0x1>; /* VT_CAM_STBY */
			gpio_mclk = <&gpe0 1 0x1>; /* VT_CAM_MCLK */
			status = "okay";
		};
	};

	#define SENSOR_SCENARIO_NORMAL		0
	#define SENSOR_SCENARIO_VISION		1
	#define SENSOR_SCENARIO_EXTERNAL	2
	#define SENSOR_SCENARIO_OIS_FACTORY	3
	#define SENSOR_SCENARIO_VIRTUAL		9
	#define FLITE_ID_NOTHING 100

	pinctrl@139B0000 {
		hrm_vdd_io_en: hrm_vdd_io_en {
			samsung,pins = "gpd4-3";
			samsung,pin-function = <1>;
			samsung,pin-pud = <1>;
			samsung,pin-val = <0>;
		};
		hrm_vdd_en: hrm_vdd_en {
			samsung,pins = "gpd2-3";
			samsung,pin-function = <1>;
			samsung,pin-pud = <1>;
			samsung,pin-val = <0>;
		};
	};

	fimc_is_sensor0: fimc_is_sensor@14420000 {
		scenario = <SENSOR_SCENARIO_EXTERNAL>;	/* 2. SENSOR_SCENARIO_EXTERNAL */
		id = <0>;
		mclk_ch = <0>;
		csi_ch = <0>;
		flite_ch = <0>;
		is_bns = <0>;
		status = "okay";
	};

	fimc_is_sensor1: fimc_is_sensor@14460000 {
		scenario = <SENSOR_SCENARIO_EXTERNAL>;	/* 2. SENSOR_SCENARIO_EXTERNAL */
		id = <1>;
		mclk_ch = <1>;
		csi_ch = <1>;
		flite_ch = <1>;
		is_bns = <0>;
		status = "okay";
	};

	decon_fb@14830000 {
		psr_mode = <0>; /* 0: video mode, 1: DP command mode, 2: MIPI command mode */
		trig_mode = <1>;	/* 0: hw trigger, 1: sw trigger */
		disp-pll-clk = <69000000>;
		disp-eclk = <160000000>;
		disp-vclk = <69000000>;
		disp-dvfs = <200000>;
		status = "okay";
		bootloader_fb = <0x67000000 0 0 800 1280 0>;
	};

	dsim_0: dsim@14800000 {
		lcd_info = <&s6d7aa0_wxga>;
		decon_board = <&decon_board_list>;
		/* lcd reset, power */
		/* gpios = <&gpd3 4 0x1>, <&gpd1 5 0x1>; */
		status = "okay";
	};

	decon_board_list: decon_board_list {
		dsim_set_panel_power_enable {
			type = "gpio,high", "delay,usleep", "regulator,enable", "delay,usleep","gpio,high";
			delay = <10000 11000>,<10000 11000>;
			regulator = "LCD_1P8";
			gpios = <&gpd3 4 0x1>, <&gpd4 3 0x1>;
		};
		dsim_set_panel_power_disable {
			type = "gpio,low","delay,usleep","regulator,disable","delay,usleep","gpio,low";
			delay = <10000 11000>,<10000 11000>;
			regulator = "LCD_1P8";
			gpios = <&gpd4 3 0x1>, <&gpd3 4 0x1>;
		};
		dsim_reset_panel {
			type = "gpio,high", "delay,usleep", "gpio,low", "delay,usleep", "gpio,high", "delay,usleep";
			gpios = <&gpd1 1 0x1>, <&gpd1 1 0x1>, <&gpd1 1 0x1>;
			delay = <10000 11000>, <20000 21000>, <100000 110000>;
		};
	};

	s6d7aa0_wxga: s6d7aa0_wxga {
		mode = <0>; /* 0: video mode, 1: DP command mode, 2: MIPI command mode */
		resolution = <800 1280>;
		size = <108 172>;
		ddi_type = <0>;
		timing,refresh = <60>;
		/* HBP HFP HSW */
		timing,h-porch = <64 16 4>;
		/* VBP VFP VSW */
		timing,v-porch = <6 8 2>;
		timing,dsi-hs-clk = <448>;
		timing,pms = <13 448 1>;
		timing,dsi-escape-clk = <16>;
	};

	pinctrl@139B0000 {
		ds_det: ds_det {
			samsung,pins = "gpd1-2";
			samsung,pin-function = <0>;	/* INPUT */
			samsung,pin-pud = <0>;
			samsung,pin-con-pdn = <3>;	/* PREV STATE */
			samsung,pin-pud-pdn = <0>;
		};
	};

	sec_thermistor@0 {
		compatible = "samsung,sec-ap-thermistor";
		status = "okay";

		adc_array = <289 301 313 324 336 348 360 372 383 395
				407 423 438 454 470 486 501 517 533 548
				564 586 607 629 651 673 694 716 738 759
				781 805 828 852 875 899 930 961 992 1023
				1054 1087 1120 1154 1187 1220 1255 1289 1324 1358
				1393 1433 1472 1512 1551 1591 1631 1670 1710 1749
				1789 1832 1875 1918 1961 2004 2047 2090 2133 2176
				2219 2264 2309 2355 2400 2445 2490 2535 2581 2626
				2671 2708 2745 2782 2819 2856 2892 2929 2966 3003
				3040 3070 3100 3130 3160 3190 3216 3242 3267 3293
				3319 3341 3363 3384 3406 3428 3446 3463 3481 3498 3516>;
		temp_array = <900 890 880 870 860 850 840 830 820 810
					   800 790 780 770 760 750 740 730 720 710
					   700 690 680 670 660 650 640 630 620 610
					   600 590 580 570 560 550 540 530 520 510
					   500 490 480 470 460 450 440 430 420 410
					   400 390 380 370 360 350 340 330 320 310
					   300 290 280 270 260 250 240 230 220 210
					   200 190 180 170 160 150 140 130 120 110
					   100 90 80 70 60 50 40 30 20 10
					   0 (-10) (-20) (-30) (-40) (-50) (-60) (-70) (-80) (-90)
					   (-100) (-110) (-120) (-130) (-140) (-150) (-160) (-170) (-180) (-190) (-200)>;
		io-channels = <&exynos_adc 0>;
		io-channel-names = "adc-ap-temp";
		io-channel-ranges;
	};
};
